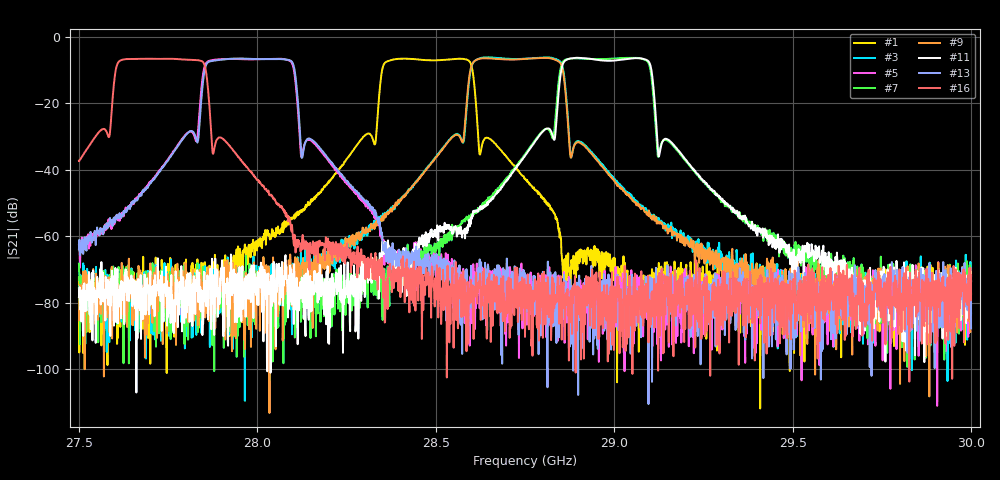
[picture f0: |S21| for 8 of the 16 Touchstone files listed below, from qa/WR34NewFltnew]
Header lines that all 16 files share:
!Keysight Technologies,N5234A,MY55441357,A.10.47.05
!Correction: S11(Full 2 Port(1,2))
!S21(Full 2 Port(1,2))
!S12(Full 2 Port(1,2))
!S22(Full 2 Port(1,2))
!S2P File: Measurements: S11, S21, S12, S22:
# Hz S  dB  R 50
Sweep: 27.5 GHz to 30 GHz
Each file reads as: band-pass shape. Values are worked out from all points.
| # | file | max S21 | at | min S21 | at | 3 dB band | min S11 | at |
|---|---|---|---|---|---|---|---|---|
| 1 | T_25_J_2.s2p | -6.52 dB | 28.41 GHz | -111.9 dB | 29.41 GHz | 28.35 GHz-28.6 GHz | -57.2 dB | 28.28 GHz |
| 2 | T_25_J_5.s2p | -5.68 dB | 29.71 GHz | -109.9 dB | 27.6 GHz | 29.5 GHz-29.75 GHz | -56.5 dB | 28.28 GHz |
| 3 | T_25_J_6.s2p | -6.11 dB | 28.64 GHz | -109.6 dB | 27.96 GHz | 28.6 GHz-28.86 GHz | -69.0 dB | 28.49 GHz |
| 4 | T_25_J_8.s2p | -6.59 dB | 27.75 GHz | -106.7 dB | 29.74 GHz | 27.6 GHz-27.85 GHz | -63.5 dB | 28.49 GHz |
| 5 | T_60_ch_1.s2p | -6.55 dB | 28.06 GHz | -111.1 dB | 29.91 GHz | 27.85 GHz-28.1 GHz | -52.7 dB | 28.46 GHz |
| 6 | T_60_ch_2.s2p | -6.57 dB | 28.56 GHz | -110.6 dB | 29.89 GHz | 28.35 GHz-28.6 GHz | -55.4 dB | 28.47 GHz |
| 7 | T_60_ch_3.s2p | -6.25 dB | 29.05 GHz | -103.0 dB | 28.03 GHz | 28.85 GHz-29.1 GHz | -60.8 dB | 28.46 GHz |
| 8 | T_60_J_5.s2p | -6.21 dB | 29.72 GHz | -102.3 dB | 28.6 GHz | 29.5 GHz-29.75 GHz | -57.9 dB | 28.46 GHz |
| 9 | T_60_J_6.s2p | -6.29 dB | 28.81 GHz | -113.2 dB | 28.03 GHz | 28.6 GHz-28.85 GHz | -61.0 dB | 28.46 GHz |
| 10 | T_60_J_7.s2p | -6.52 dB | 28.32 GHz | -101.3 dB | 29.19 GHz | 28.1 GHz-28.35 GHz | -61.0 dB | 28.46 GHz |
| 11 | T_-20_ch_3.s2p | -6.26 dB | 28.9 GHz | -107.1 dB | 27.66 GHz | 28.85 GHz-29.1 GHz | -60.0 dB | 29.68 GHz |
| 12 | T_-20_ch_7.s2p | -6.24 dB | 28.2 GHz | -107.8 dB | 29.28 GHz | 28.1 GHz-28.35 GHz | -43.7 dB | 28.51 GHz |
| 13 | T_-20_J_1.s2p | -6.47 dB | 27.95 GHz | -110.6 dB | 29.1 GHz | 27.85 GHz-28.1 GHz | -42.2 dB | 28.51 GHz |
| 14 | T_-20_J_2.s2p | -6.39 dB | 28.42 GHz | -110.2 dB | 29.56 GHz | 28.35 GHz-28.6 GHz | -48.2 dB | 28.5 GHz |
| 15 | T_-20_J_6.s2p | -5.77 dB | 28.65 GHz | -110.8 dB | 27.61 GHz | 28.6 GHz-28.86 GHz | -43.2 dB | 28.51 GHz |
| 16 | T_-20_J_8.s2p | -6.54 dB | 27.69 GHz | -103.8 dB | 29.83 GHz | 27.6 GHz-27.85 GHz | -43.2 dB | 28.51 GHz |
